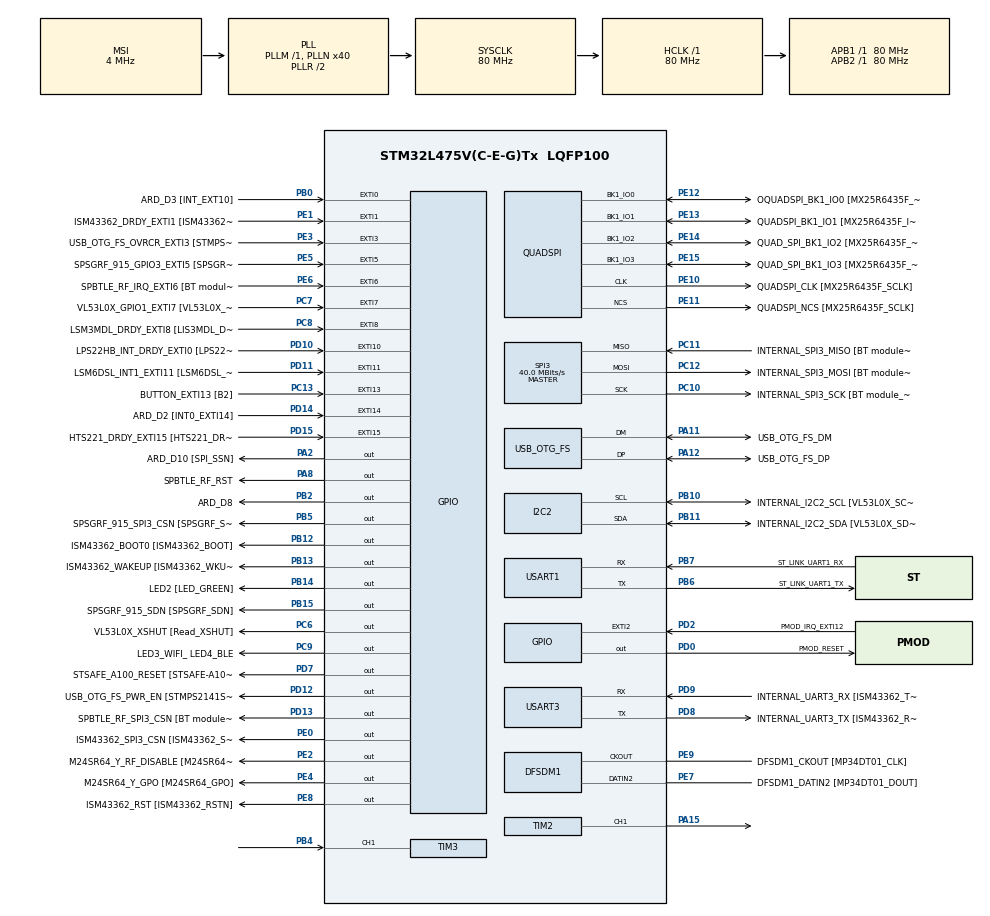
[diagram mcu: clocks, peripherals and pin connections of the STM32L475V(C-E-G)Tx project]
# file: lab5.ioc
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I2C2.Timing=0x10D19CE4
Mcu.Family=STM32L4
Mcu.Name=STM32L475V(C-E-G)Tx
Mcu.Package=LQFP100
NVIC.EXTI15_10_IRQn=true\:0\:0\:false\:false\:true\:true\:true\:true
NVIC.EXTI9_5_IRQn=true\:0\:0\:false\:false\:true\:true\:true\:true
NVIC.PriorityGroup=NVIC_PRIORITYGROUP_4
NVIC.TIM3_IRQn=true\:0\:0\:false\:false\:true\:true\:true\:true
PA0.GPIO_Label=ARD_D1 [UART4_TX]
PA0.Signal=UART4_TX
PA1.GPIO_Label=ARD_D0 [UART4_RX]
PA1.Signal=UART4_RX
PA10.GPIO_Label=USB_OTG_FS_ID
PA10.Signal=USB_OTG_FS_ID
PA11.GPIO_Label=USB_OTG_FS_DM
PA11.Mode=Device_Only
PA11.Signal=USB_OTG_FS_DM
PA12.GPIO_Label=USB_OTG_FS_DP
PA12.Mode=Device_Only
PA12.Signal=USB_OTG_FS_DP
PA13\ (JTMS-SWDIO).GPIO_Label=SYS_JTMS_SWDIO
PA13\ (JTMS-SWDIO).Mode=Serial_Wire
PA13\ (JTMS-SWDIO).Signal=SYS_JTMS-SWDIO
PA14\ (JTCK-SWCLK).GPIO_Label=SYS_JTCK_SWCLK
PA14\ (JTCK-SWCLK).Mode=Serial_Wire
PA14\ (JTCK-SWCLK).Signal=SYS_JTCK-SWCLK
PA15\ (JTDI).Signal=S_TIM2_CH1
PA2.GPIO_Label=ARD_D10 [SPI_SSN]
PA2.Signal=GPIO_Output
PA3.GPIO_Label=ARD_D4
PA3.Signal=S_TIM2_CH4
PA4.GPIO_Label=ARD_D7
PA4.Signal=ADCx_IN9
PA5.GPIO_Label=ARD_D13 [SPI1_SCK]
PA5.Signal=SPI1_SCK
PA6.GPIO_Label=ARD_D12 [SPI1_MISO]
PA6.Signal=SPI1_MISO
PA7.GPIO_Label=ARD_D11 [SPI1_MOSI]
PA7.Signal=SPI1_MOSI
PA8.GPIO_Label=SPBTLE_RF_RST
PA8.Signal=GPIO_Output
PA9.GPIO_Label=USB_OTG_FS_VBUS [STMPS2141STR_OUT]
PA9.Signal=USB_OTG_FS_VBUS
PB0.GPIO_Label=ARD_D3 [INT_EXT10]
PB0.Signal=GPXTI0
PB1.GPIO_Label=ARD_D6 [ADC1_IN6]
PB1.Signal=ADCx_IN16
PB10.GPIO_Label=INTERNAL_I2C2_SCL [VL53L0X_SCL]
PB10.GPIO_Pu=GPIO_PULLUP
PB10.Mode=I2C
PB10.Signal=I2C2_SCL
PB11.GPIO_Label=INTERNAL_I2C2_SDA [VL53L0X_SDA]
PB11.GPIO_Pu=GPIO_PULLUP
PB11.Mode=I2C
PB11.Signal=I2C2_SDA
PB12.GPIO_Label=ISM43362_BOOT0 [ISM43362_BOOT]
PB12.Signal=GPIO_Output
PB13.GPIO_Label=ISM43362_WAKEUP [ISM43362_WKUP]
PB13.Signal=GPIO_Output
PB14.GPIO_Label=LED2 [LED_GREEN]
PB14.Signal=GPIO_Output
PB15.GPIO_Label=SPSGRF_915_SDN [SPSGRF_SDN]
PB15.Signal=GPIO_Output
PB2.GPIO_Label=ARD_D8
PB2.Signal=GPIO_Output
PB3\ (JTDO-TRACESWO).GPIO_Label=SYS_JTD0_SWO
PB3\ (JTDO-TRACESWO).Signal=SYS_JTDO-SWO
PB4\ (NJTRST).Signal=S_TIM3_CH1
PB5.GPIO_Label=SPSGRF_915_SPI3_CSN [SPSGRF_SPI_CS]
PB5.PinState=GPIO_PIN_SET
PB5.Signal=GPIO_Output
PB6.GPIO_Label=ST_LINK_UART1_TX
PB6.Mode=Asynchronous
PB6.Signal=USART1_TX
PB7.GPIO_Label=ST_LINK_UART1_RX
PB7.Mode=Asynchronous
PB7.Signal=USART1_RX
PB8.GPIO_Label=ARD_D15 [I2C1_SCL]
PB8.Signal=I2C1_SCL
PB9.GPIO_Label=ARD_D14 [I2C1_SDA]
PB9.Signal=I2C1_SDA
PC0.GPIO_Label=ARD_A5 [ADC]
PC0.Signal=ADCx_IN1
PC1.GPIO_Label=ARD_A4 [ADC]
PC1.Signal=ADCx_IN2
PC10.GPIO_Label=INTERNAL_SPI3_SCK [BT module_SPI_SCLK] [ISM43362_SCK]
PC10.Mode=Full_Duplex_Master
PC10.Signal=SPI3_SCK
PC11.GPIO_Label=INTERNAL_SPI3_MISO [BT module_SPI_MISO] [ISM43362_MISO]
PC11.Mode=Full_Duplex_Master
PC11.Signal=SPI3_MISO
PC12.GPIO_Label=INTERNAL_SPI3_MOSI [BT module_SPI_MOSI] [ISM43362_MOSI]
PC12.Mode=Full_Duplex_Master
PC12.Signal=SPI3_MOSI
PC13.GPIO_Label=BUTTON_EXTI13 [B2]
PC13.GPIO_ModeDefaultEXTI=GPIO_MODE_IT_FALLING
PC13.Signal=GPXTI13
PC14-OSC32_IN\ (PC14).Mode=LSE-External-Oscillator
PC14-OSC32_IN\ (PC14).Signal=RCC_OSC32_IN
PC15-OSC32_OUT\ (PC15).Mode=LSE-External-Oscillator
PC15-OSC32_OUT\ (PC15).Signal=RCC_OSC32_OUT
PC2.GPIO_Label=ARD_A3 [ADC]
PC2.Signal=ADCx_IN3
PC3.GPIO_Label=ARD_A2 [ADC]
PC3.Signal=ADCx_IN4
PC4.GPIO_Label=ARD_A1 [ADC]
PC4.Signal=ADCx_IN13
PC5.GPIO_Label=ARD_A0 [ADC]
PC5.Signal=ADCx_IN14
PC6.GPIO_Label=VL53L0X_XSHUT [Read_XSHUT]
PC6.Signal=GPIO_Output
PC7.GPIO_Label=VL53L0X_GPIO1_EXTI7 [VL53L0X_GPIO1]
PC7.Signal=GPXTI7
PC8.GPIO_Label=LSM3MDL_DRDY_EXTI8 [LIS3MDL_DRDY]
PC8.Signal=GPXTI8
PC9.GPIO_Label=LED3_WIFI_ LED4_BLE
PC9.Signal=GPIO_Output
PD0.GPIO_Label=PMOD_RESET
PD0.Signal=GPIO_Output
PD1.GPIO_Label=PMOD_SPI2_SCK
PD1.Signal=SPI2_SCK
PD10.GPIO_Label=LPS22HB_INT_DRDY_EXTI0 [LPS22HB_INT_DRDY] 
PD10.Signal=GPXTI10
PD11.GPIO_Label=LSM6DSL_INT1_EXTI11 [LSM6DSL_INT1]
PD11.Signal=GPXTI11
PD12.GPIO_Label=USB_OTG_FS_PWR_EN [STMPS2141STR_EN]
PD12.Signal=GPIO_Output
PD13.GPIO_Label=SPBTLE_RF_SPI3_CSN [BT module_SPI_CS]
PD13.PinState=GPIO_PIN_SET
PD13.Signal=GPIO_Output
PD14.GPIO_Label=ARD_D2 [INT0_EXTI14]
PD14.Signal=GPXTI14
PD15.GPIO_Label=HTS221_DRDY_EXTI15 [HTS221_DRDY]
PD15.Signal=GPXTI15
PD2.GPIO_Label=PMOD_IRQ_EXTI12
PD2.Signal=GPXTI2
PD3.GPIO_Label=PMOD_UART2_CTS
PD3.Signal=USART2_CTS
PD4.GPIO_Label=PMOD_UART2_RTS
PD4.Signal=USART2_RTS
PD5.GPIO_Label=PMOD_UART2_TX
PD5.Signal=USART2_TX
PD6.GPIO_Label=PMOD_UART2_RX
PD6.Signal=USART2_RX
PD7.GPIO_Label=STSAFE_A100_RESET [STSAFE-A100_RESET]
PD7.Signal=GPIO_Output
PD8.GPIO_Label=INTERNAL_UART3_TX [ISM43362_RX]
PD8.Mode=Asynchronous
PD8.Signal=USART3_TX
PD9.GPIO_Label=INTERNAL_UART3_RX [ISM43362_TX]
PD9.Mode=Asynchronous
PD9.Signal=USART3_RX
PE0.GPIO_Label=ISM43362_SPI3_CSN [ISM43362_SSN]
PE0.PinState=GPIO_PIN_SET
PE0.Signal=GPIO_Output
PE1.GPIO_Label=ISM43362_DRDY_EXTI1 [ISM43362_DATARDY]
PE1.Signal=GPXTI1
PE10.GPIO_Label=QUADSPI_CLK [MX25R6435F_SCLK]
PE10.Mode=Single Bank
PE10.Signal=QUADSPI_CLK
PE11.GPIO_Label=QUADSPI_NCS [MX25R6435F_SCLK]
PE11.Mode=Single Bank
PE11.Signal=QUADSPI_NCS
PE12.GPIO_Label=OQUADSPI_BK1_IO0 [MX25R6435F_IO0]
PE12.Mode=Single Bank
PE12.Signal=QUADSPI_BK1_IO0
PE13.GPIO_Label=QUADSPI_BK1_IO1 [MX25R6435F_IO1]
PE13.Mode=Single Bank
PE13.Signal=QUADSPI_BK1_IO1
PE14.GPIO_Label=QUAD_SPI_BK1_IO2 [MX25R6435F_IO2]
PE14.Mode=Single Bank
PE14.Signal=QUADSPI_BK1_IO2
PE15.GPIO_Label=QUAD_SPI_BK1_IO3 [MX25R6435F_IO3]
PE15.Mode=Single Bank
PE15.Signal=QUADSPI_BK1_IO3
PE2.GPIO_Label=M24SR64_Y_RF_DISABLE [M24SR64_RFDIS]
PE2.Signal=GPIO_Output
PE3.GPIO_Label=USB_OTG_FS_OVRCR_EXTI3 [STMPS2141STR_FAULT]
PE3.Signal=GPXTI3
PE4.GPIO_Label=M24SR64_Y_GPO [M24SR64_GPO]
PE4.Signal=GPIO_Output
PE5.GPIO_Label=SPSGRF_915_GPIO3_EXTI5 [SPSGRF_GPIO_3]
PE5.Signal=GPXTI5
PE6.GPIO_Label=SPBTLE_RF_IRQ_EXTI6 [BT module_SPI_IRQ]
PE6.Signal=GPXTI6
PE7.GPIO_Label=DFSDM1_DATIN2 [MP34DT01_DOUT]
PE7.Signal=S_DATAIN2DFSDM1
PE8.GPIO_Label=ISM43362_RST [ISM43362_RSTN]
PE8.Signal=GPIO_Output
PE9.GPIO_Label=DFSDM1_CKOUT [MP34DT01_CLK]
PE9.Signal=S_CKOUTDFSDM1
ProjectManager.HeapSize=0x200
ProjectManager.StackSize=0x400
ProjectManager.TargetToolchain=CMake
QUADSPI.ClockPrescaler=2
QUADSPI.FifoThreshold=4
QUADSPI.FlashSize=23
QUADSPI.SampleShifting=QSPI_SAMPLE_SHIFTING_HALFCYCLE
RCC.ADCFreq_Value=48000000
RCC.AHBFreq_Value=80000000
RCC.APB1Freq_Value=80000000
RCC.APB1TimFreq_Value=80000000
RCC.APB2Freq_Value=80000000
RCC.APB2TimFreq_Value=80000000
RCC.CortexFreq_Value=80000000
RCC.HCLKFreq_Value=80000000
RCC.HSE_VALUE=8000000
RCC.HSI_VALUE=16000000
RCC.MSI_VALUE=4000000
RCC.PLLN=40
RCC.PLLSAI1N=24
RCC.SYSCLKFreq_VALUE=80000000
RCC.SYSCLKSource=RCC_SYSCLKSOURCE_PLLCLK
RCC.USBFreq_Value=48000000
RCC.VCOOutputFreq_Value=160000000
SH.ADCx_IN1.0=ADC1_IN1
SH.ADCx_IN13.0=ADC1_IN13
SH.ADCx_IN14.0=ADC1_IN14
SH.ADCx_IN16.0=ADC1_IN16
SH.ADCx_IN2.0=ADC1_IN2
SH.ADCx_IN3.0=ADC1_IN3
SH.ADCx_IN4.0=ADC1_IN4
SH.ADCx_IN9.0=ADC1_IN9
SH.S_CKOUTDFSDM1.0=DFSDM1_CKOUT,CKOUT
SH.S_CKOUTDFSDM1.1=DFSDM1_CKOUT,PDM_SPI_Input_from_ch12_and_Internal_Clock
SH.S_DATAIN2DFSDM1.0=DFSDM1_DATIN2,PDM_SPI_Input_from_ch12_and_Internal_Clock
SH.S_TIM2_CH1.0=TIM2_CH1,PWM Generation1 CH1
SH.S_TIM2_CH4.0=TIM2_CH4
SH.S_TIM3_CH1.0=TIM3_CH1,TriggerSource_TI1FP1
SH.S_TIM3_CH1.1=TIM3_CH1,Input_Capture1_from_TI1
SPI3.CalculateBaudRate=40.0 MBits/s
SPI3.Direction=SPI_DIRECTION_2LINES
SPI3.Mode=SPI_MODE_MASTER
SPI3.VirtualType=VM_MASTER
TIM2.Channel-PWM\ Generation1\ CH1=TIM_CHANNEL_1
TIM2.Period=19999
TIM2.Prescaler=79
TIM2.Pulse-PWM\ Generation1\ CH1=1500
TIM3.Channel-Input_Capture1_from_TI1=TIM_CHANNEL_1
TIM3.Channel-Input_Capture2_from_TI1_63=TIM_CHANNEL_2
TIM3.ICPolarity_CH2=TIM_INPUTCHANNELPOLARITY_FALLING
TIM3.Prescaler=79
USART1.VirtualMode-Asynchronous=VM_ASYNC
USART3.VirtualMode-Asynchronous=VM_ASYNC
USB_OTG_FS.VirtualMode=Device_Only
VP_TIM2_VS_ClockSourceINT.Mode=Internal
VP_TIM3_VS_ClockSourceINT.Mode=Internal
VP_TIM3_VS_ControllerModeReset.Mode=Reset Mode
VP_TIM3_VS_indirect_ch1.Mode=Input_Capture2_from_TI1_63
board=B-L475E-IOT01A1

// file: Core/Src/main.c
/* USER CODE BEGIN Header */
/**
  ******************************************************************************
  * @file           : main.c
  * @brief          : Main program body
  ******************************************************************************
  * @attention
  *
  * Copyright (c) 2026 STMicroelectronics.
  * All rights reserved.
  *
  * This software is licensed under terms that can be found in the LICENSE file
  * in the root directory of this software component.
  * If no LICENSE file comes with this software, it is provided AS-IS.
  *
  ******************************************************************************
  */
/* USER CODE END Header */
#include "main.h"

/* USER CODE BEGIN Includes */
#include <stdio.h> // Include stdio.h for printf function
#include <string.h> // Include string.h for strlen function
/* USER CODE END Includes */

DFSDM_Channel_HandleTypeDef hdfsdm1_channel1;

I2C_HandleTypeDef hi2c2;

QSPI_HandleTypeDef hqspi;

SPI_HandleTypeDef hspi3;

TIM_HandleTypeDef htim2;
TIM_HandleTypeDef htim3;

UART_HandleTypeDef huart1;
UART_HandleTypeDef huart3;

PCD_HandleTypeDef hpcd_USB_OTG_FS;

/* USER CODE BEGIN PV */
volatile uint16_t period = 0; // Variable to store the measured period
volatile uint16_t pulse_width = 0; // Variable to store the measured pulse width
/* USER CODE END PV */

void SystemClock_Config(void);
static void MX_GPIO_Init(void);
static void MX_DFSDM1_Init(void);
static void MX_I2C2_Init(void);
static void MX_QUADSPI_Init(void);
static void MX_SPI3_Init(void);
static void MX_TIM2_Init(void);
static void MX_USART1_UART_Init(void);
static void MX_USART3_UART_Init(void);
static void MX_USB_OTG_FS_PCD_Init(void);
static void MX_TIM3_Init(void);

/* USER CODE BEGIN 0 */

static void print_measurement(uint16_t period, uint16_t pulse_width) {
    char buffer[80];
    snprintf(buffer, sizeof(buffer), "period = %u us, width = %u us, angle = %d deg\r\n", period, pulse_width, (int)((pulse_width - 1000) * 180 / 1000));
    HAL_UART_Transmit(&huart1, (uint8_t*)buffer, strlen(buffer), HAL_MAX_DELAY);
}

/* USER CODE END 0 */

int main(void)
{

  /* MCU Configuration--------------------------------------------------------*/

  /* Reset of all peripherals, Initializes the Flash interface and the Systick. */
  HAL_Init();

  /* Configure the system clock */
  SystemClock_Config();

  /* Initialize all configured peripherals */
  MX_GPIO_Init();
  MX_DFSDM1_Init();
  MX_I2C2_Init();
  MX_QUADSPI_Init();
  MX_SPI3_Init();
  MX_TIM2_Init();
  MX_USART1_UART_Init();
  MX_USART3_UART_Init();
  MX_USB_OTG_FS_PCD_Init();
  MX_TIM3_Init();
  /* USER CODE BEGIN 2 */
  HAL_TIM_PWM_Start(&htim2, TIM_CHANNEL_1);
  HAL_TIM_IC_Start(&htim3, TIM_CHANNEL_2);
  HAL_TIM_IC_Start_IT(&htim3, TIM_CHANNEL_1);
  /* USER CODE END 2 */

  /* Infinite loop */
  while (1)
  {

    /* USER CODE BEGIN 3 */
    __HAL_TIM_SET_COMPARE(&htim2, TIM_CHANNEL_1, 1000);
    HAL_Delay(1000);
    print_measurement(period, pulse_width);
    __HAL_TIM_SET_COMPARE(&htim2, TIM_CHANNEL_1, 1500);
    HAL_Delay(1000);
    print_measurement(period, pulse_width);
    __HAL_TIM_SET_COMPARE(&htim2, TIM_CHANNEL_1, 2000);
    HAL_Delay(1000);
    print_measurement(period, pulse_width);

  }
  /* USER CODE END 3 */
}

void SystemClock_Config(void)
{
  RCC_OscInitTypeDef RCC_OscInitStruct = {0};
  RCC_ClkInitTypeDef RCC_ClkInitStruct = {0};

  /** Configure the main internal regulator output voltage
  */
  if (HAL_PWREx_ControlVoltageScaling(PWR_REGULATOR_VOLTAGE_SCALE1) != HAL_OK)
  {
    Error_Handler();
  }

  /** Configure LSE Drive Capability
  */
  HAL_PWR_EnableBkUpAccess();
  __HAL_RCC_LSEDRIVE_CONFIG(RCC_LSEDRIVE_LOW);

  /** Initializes the RCC Oscillators according to the specified parameters
  * in the RCC_OscInitTypeDef structure.
  */
  RCC_OscInitStruct.OscillatorType = RCC_OSCILLATORTYPE_LSE|RCC_OSCILLATORTYPE_MSI;
  RCC_OscInitStruct.LSEState = RCC_LSE_ON;
  RCC_OscInitStruct.MSIState = RCC_MSI_ON;
  RCC_OscInitStruct.MSICalibrationValue = 0;
  RCC_OscInitStruct.MSIClockRange = RCC_MSIRANGE_6;
  RCC_OscInitStruct.PLL.PLLState = RCC_PLL_ON;
  RCC_OscInitStruct.PLL.PLLSource = RCC_PLLSOURCE_MSI;
  RCC_OscInitStruct.PLL.PLLM = 1;
  RCC_OscInitStruct.PLL.PLLN = 40;
  RCC_OscInitStruct.PLL.PLLP = RCC_PLLP_DIV7;
  RCC_OscInitStruct.PLL.PLLQ = RCC_PLLQ_DIV2;
  RCC_OscInitStruct.PLL.PLLR = RCC_PLLR_DIV2;
  if (HAL_RCC_OscConfig(&RCC_OscInitStruct) != HAL_OK)
  {
    Error_Handler();
  }

  /** Initializes the CPU, AHB and APB buses clocks
  */
  RCC_ClkInitStruct.ClockType = RCC_CLOCKTYPE_HCLK|RCC_CLOCKTYPE_SYSCLK
                              |RCC_CLOCKTYPE_PCLK1|RCC_CLOCKTYPE_PCLK2;
  RCC_ClkInitStruct.SYSCLKSource = RCC_SYSCLKSOURCE_PLLCLK;
  RCC_ClkInitStruct.AHBCLKDivider = RCC_SYSCLK_DIV1;
  RCC_ClkInitStruct.APB1CLKDivider = RCC_HCLK_DIV1;
  RCC_ClkInitStruct.APB2CLKDivider = RCC_HCLK_DIV1;

  if (HAL_RCC_ClockConfig(&RCC_ClkInitStruct, FLASH_LATENCY_4) != HAL_OK)
  {
    Error_Handler();
  }

  /** Enable MSI Auto calibration
  */
  HAL_RCCEx_EnableMSIPLLMode();
}

static void MX_DFSDM1_Init(void)
{

  hdfsdm1_channel1.Instance = DFSDM1_Channel1;
  hdfsdm1_channel1.Init.OutputClock.Activation = ENABLE;
  hdfsdm1_channel1.Init.OutputClock.Selection = DFSDM_CHANNEL_OUTPUT_CLOCK_SYSTEM;
  hdfsdm1_channel1.Init.OutputClock.Divider = 2;
  hdfsdm1_channel1.Init.Input.Multiplexer = DFSDM_CHANNEL_EXTERNAL_INPUTS;
  hdfsdm1_channel1.Init.Input.DataPacking = DFSDM_CHANNEL_STANDARD_MODE;
  hdfsdm1_channel1.Init.Input.Pins = DFSDM_CHANNEL_FOLLOWING_CHANNEL_PINS;
  hdfsdm1_channel1.Init.SerialInterface.Type = DFSDM_CHANNEL_SPI_RISING;
  hdfsdm1_channel1.Init.SerialInterface.SpiClock = DFSDM_CHANNEL_SPI_CLOCK_INTERNAL;
  hdfsdm1_channel1.Init.Awd.FilterOrder = DFSDM_CHANNEL_FASTSINC_ORDER;
  hdfsdm1_channel1.Init.Awd.Oversampling = 1;
  hdfsdm1_channel1.Init.Offset = 0;
  hdfsdm1_channel1.Init.RightBitShift = 0x00;
  if (HAL_DFSDM_ChannelInit(&hdfsdm1_channel1) != HAL_OK)
  {
    Error_Handler();
  }

}

static void MX_I2C2_Init(void)
{

  hi2c2.Instance = I2C2;
  hi2c2.Init.Timing = 0x10D19CE4;
  hi2c2.Init.OwnAddress1 = 0;
  hi2c2.Init.AddressingMode = I2C_ADDRESSINGMODE_7BIT;
  hi2c2.Init.DualAddressMode = I2C_DUALADDRESS_DISABLE;
  hi2c2.Init.OwnAddress2 = 0;
  hi2c2.Init.OwnAddress2Masks = I2C_OA2_NOMASK;
  hi2c2.Init.GeneralCallMode = I2C_GENERALCALL_DISABLE;
  hi2c2.Init.NoStretchMode = I2C_NOSTRETCH_DISABLE;
  if (HAL_I2C_Init(&hi2c2) != HAL_OK)
  {
    Error_Handler();
  }

  /** Configure Analogue filter
  */
  if (HAL_I2CEx_ConfigAnalogFilter(&hi2c2, I2C_ANALOGFILTER_ENABLE) != HAL_OK)
  {
    Error_Handler();
  }

  /** Configure Digital filter
  */
  if (HAL_I2CEx_ConfigDigitalFilter(&hi2c2, 0) != HAL_OK)
  {
    Error_Handler();
  }

}

static void MX_QUADSPI_Init(void)
{

  /* QUADSPI parameter configuration*/
  hqspi.Instance = QUADSPI;
  hqspi.Init.ClockPrescaler = 2;
  hqspi.Init.FifoThreshold = 4;
  hqspi.Init.SampleShifting = QSPI_SAMPLE_SHIFTING_HALFCYCLE;
  hqspi.Init.FlashSize = 23;
  hqspi.Init.ChipSelectHighTime = QSPI_CS_HIGH_TIME_1_CYCLE;
  hqspi.Init.ClockMode = QSPI_CLOCK_MODE_0;
  if (HAL_QSPI_Init(&hqspi) != HAL_OK)
  {
    Error_Handler();
  }

}

static void MX_SPI3_Init(void)
{

  /* SPI3 parameter configuration*/
  hspi3.Instance = SPI3;
  hspi3.Init.Mode = SPI_MODE_MASTER;
  hspi3.Init.Direction = SPI_DIRECTION_2LINES;
  hspi3.Init.DataSize = SPI_DATASIZE_4BIT;
  hspi3.Init.CLKPolarity = SPI_POLARITY_LOW;
  hspi3.Init.CLKPhase = SPI_PHASE_1EDGE;
  hspi3.Init.NSS = SPI_NSS_SOFT;
  hspi3.Init.BaudRatePrescaler = SPI_BAUDRATEPRESCALER_2;
  hspi3.Init.FirstBit = SPI_FIRSTBIT_MSB;
  hspi3.Init.TIMode = SPI_TIMODE_DISABLE;
  hspi3.Init.CRCCalculation = SPI_CRCCALCULATION_DISABLE;
  hspi3.Init.CRCPolynomial = 7;
  hspi3.Init.CRCLength = SPI_CRC_LENGTH_DATASIZE;
  hspi3.Init.NSSPMode = SPI_NSS_PULSE_ENABLE;
  if (HAL_SPI_Init(&hspi3) != HAL_OK)
  {
    Error_Handler();
  }

}

static void MX_TIM2_Init(void)
{

  TIM_ClockConfigTypeDef sClockSourceConfig = {0};
  TIM_MasterConfigTypeDef sMasterConfig = {0};
  TIM_OC_InitTypeDef sConfigOC = {0};

  htim2.Instance = TIM2;
  htim2.Init.Prescaler = 79;
  htim2.Init.CounterMode = TIM_COUNTERMODE_UP;
  htim2.Init.Period = 19999;
  htim2.Init.ClockDivision = TIM_CLOCKDIVISION_DIV1;
  htim2.Init.AutoReloadPreload = TIM_AUTORELOAD_PRELOAD_DISABLE;
  if (HAL_TIM_Base_Init(&htim2) != HAL_OK)
  {
    Error_Handler();
  }
  sClockSourceConfig.ClockSource = TIM_CLOCKSOURCE_INTERNAL;
  if (HAL_TIM_ConfigClockSource(&htim2, &sClockSourceConfig) != HAL_OK)
  {
    Error_Handler();
  }
  if (HAL_TIM_PWM_Init(&htim2) != HAL_OK)
  {
    Error_Handler();
  }
  sMasterConfig.MasterOutputTrigger = TIM_TRGO_RESET;
  sMasterConfig.MasterSlaveMode = TIM_MASTERSLAVEMODE_DISABLE;
  if (HAL_TIMEx_MasterConfigSynchronization(&htim2, &sMasterConfig) != HAL_OK)
  {
    Error_Handler();
  }
  sConfigOC.OCMode = TIM_OCMODE_PWM1;
  sConfigOC.Pulse = 1500;
  sConfigOC.OCPolarity = TIM_OCPOLARITY_HIGH;
  sConfigOC.OCFastMode = TIM_OCFAST_DISABLE;
  if (HAL_TIM_PWM_ConfigChannel(&htim2, &sConfigOC, TIM_CHANNEL_1) != HAL_OK)
  {
    Error_Handler();
  }
  HAL_TIM_MspPostInit(&htim2);

}

static void MX_TIM3_Init(void)
{

  TIM_ClockConfigTypeDef sClockSourceConfig = {0};
  TIM_SlaveConfigTypeDef sSlaveConfig = {0};
  TIM_MasterConfigTypeDef sMasterConfig = {0};
  TIM_IC_InitTypeDef sConfigIC = {0};

  htim3.Instance = TIM3;
  htim3.Init.Prescaler = 79;
  htim3.Init.CounterMode = TIM_COUNTERMODE_UP;
  htim3.Init.Period = 65535;
  htim3.Init.ClockDivision = TIM_CLOCKDIVISION_DIV1;
  htim3.Init.AutoReloadPreload = TIM_AUTORELOAD_PRELOAD_DISABLE;
  if (HAL_TIM_Base_Init(&htim3) != HAL_OK)
  {
    Error_Handler();
  }
  sClockSourceConfig.ClockSource = TIM_CLOCKSOURCE_INTERNAL;
  if (HAL_TIM_ConfigClockSource(&htim3, &sClockSourceConfig) != HAL_OK)
  {
    Error_Handler();
  }
  if (HAL_TIM_IC_Init(&htim3) != HAL_OK)
  {
    Error_Handler();
  }
  sSlaveConfig.SlaveMode = TIM_SLAVEMODE_RESET;
  sSlaveConfig.InputTrigger = TIM_TS_TI1FP1;
  sSlaveConfig.TriggerPolarity = TIM_INPUTCHANNELPOLARITY_RISING;
  sSlaveConfig.TriggerFilter = 0;
  if (HAL_TIM_SlaveConfigSynchro(&htim3, &sSlaveConfig) != HAL_OK)
  {
    Error_Handler();
  }
  sMasterConfig.MasterOutputTrigger = TIM_TRGO_RESET;
  sMasterConfig.MasterSlaveMode = TIM_MASTERSLAVEMODE_DISABLE;
  if (HAL_TIMEx_MasterConfigSynchronization(&htim3, &sMasterConfig) != HAL_OK)
  {
    Error_Handler();
  }
  sConfigIC.ICPolarity = TIM_INPUTCHANNELPOLARITY_RISING;
  sConfigIC.ICSelection = TIM_ICSELECTION_DIRECTTI;
  sConfigIC.ICPrescaler = TIM_ICPSC_DIV1;
  sConfigIC.ICFilter = 0;
  if (HAL_TIM_IC_ConfigChannel(&htim3, &sConfigIC, TIM_CHANNEL_1) != HAL_OK)
  {
    Error_Handler();
  }
  sConfigIC.ICPolarity = TIM_INPUTCHANNELPOLARITY_FALLING;
  sConfigIC.ICSelection = TIM_ICSELECTION_INDIRECTTI;
  if (HAL_TIM_IC_ConfigChannel(&htim3, &sConfigIC, TIM_CHANNEL_2) != HAL_OK)
  {
    Error_Handler();
  }

}

static void MX_USART1_UART_Init(void)
{

  huart1.Instance = USART1;
  huart1.Init.BaudRate = 115200;
  huart1.Init.WordLength = UART_WORDLENGTH_8B;
  huart1.Init.StopBits = UART_STOPBITS_1;
  huart1.Init.Parity = UART_PARITY_NONE;
  huart1.Init.Mode = UART_MODE_TX_RX;
  huart1.Init.HwFlowCtl = UART_HWCONTROL_NONE;
  huart1.Init.OverSampling = UART_OVERSAMPLING_16;
  huart1.Init.OneBitSampling = UART_ONE_BIT_SAMPLE_DISABLE;
  huart1.AdvancedInit.AdvFeatureInit = UART_ADVFEATURE_NO_INIT;
  if (HAL_UART_Init(&huart1) != HAL_OK)
  {
    Error_Handler();
  }

}

static void MX_USART3_UART_Init(void)
{

  huart3.Instance = USART3;
  huart3.Init.BaudRate = 115200;
  huart3.Init.WordLength = UART_WORDLENGTH_8B;
  huart3.Init.StopBits = UART_STOPBITS_1;
  huart3.Init.Parity = UART_PARITY_NONE;
  huart3.Init.Mode = UART_MODE_TX_RX;
  huart3.Init.HwFlowCtl = UART_HWCONTROL_NONE;
  huart3.Init.OverSampling = UART_OVERSAMPLING_16;
  huart3.Init.OneBitSampling = UART_ONE_BIT_SAMPLE_DISABLE;
  huart3.AdvancedInit.AdvFeatureInit = UART_ADVFEATURE_NO_INIT;
  if (HAL_UART_Init(&huart3) != HAL_OK)
  {
    Error_Handler();
  }

}

static void MX_USB_OTG_FS_PCD_Init(void)
{

  hpcd_USB_OTG_FS.Instance = USB_OTG_FS;
  hpcd_USB_OTG_FS.Init.dev_endpoints = 6;
  hpcd_USB_OTG_FS.Init.speed = PCD_SPEED_FULL;
  hpcd_USB_OTG_FS.Init.phy_itface = PCD_PHY_EMBEDDED;
  hpcd_USB_OTG_FS.Init.Sof_enable = DISABLE;
  hpcd_USB_OTG_FS.Init.low_power_enable = DISABLE;
  hpcd_USB_OTG_FS.Init.lpm_enable = DISABLE;
  hpcd_USB_OTG_FS.Init.battery_charging_enable = DISABLE;
  hpcd_USB_OTG_FS.Init.use_dedicated_ep1 = DISABLE;
  hpcd_USB_OTG_FS.Init.vbus_sensing_enable = DISABLE;
  if (HAL_PCD_Init(&hpcd_USB_OTG_FS) != HAL_OK)
  {
    Error_Handler();
  }

}

static void MX_GPIO_Init(void)
{
  GPIO_InitTypeDef GPIO_InitStruct = {0};

  /* GPIO Ports Clock Enable */
  __HAL_RCC_GPIOE_CLK_ENABLE();
  __HAL_RCC_GPIOC_CLK_ENABLE();
  __HAL_RCC_GPIOA_CLK_ENABLE();
  __HAL_RCC_GPIOB_CLK_ENABLE();
  __HAL_RCC_GPIOD_CLK_ENABLE();

  /*Configure GPIO pin Output Level */
  HAL_GPIO_WritePin(GPIOE, M24SR64_Y_RF_DISABLE_Pin|M24SR64_Y_GPO_Pin|ISM43362_RST_Pin, GPIO_PIN_RESET);

  /*Configure GPIO pin Output Level */
  HAL_GPIO_WritePin(GPIOA, ARD_D10_Pin|SPBTLE_RF_RST_Pin, GPIO_PIN_RESET);

  /*Configure GPIO pin Output Level */
  HAL_GPIO_WritePin(GPIOB, ARD_D8_Pin|ISM43362_BOOT0_Pin|ISM43362_WAKEUP_Pin|LED2_Pin
                          |SPSGRF_915_SDN_Pin, GPIO_PIN_RESET);

  /*Configure GPIO pin Output Level */
  HAL_GPIO_WritePin(GPIOD, USB_OTG_FS_PWR_EN_Pin|PMOD_RESET_Pin|STSAFE_A100_RESET_Pin, GPIO_PIN_RESET);

  /*Configure GPIO pin Output Level */
  HAL_GPIO_WritePin(SPBTLE_RF_SPI3_CSN_GPIO_Port, SPBTLE_RF_SPI3_CSN_Pin, GPIO_PIN_SET);

  /*Configure GPIO pin Output Level */
  HAL_GPIO_WritePin(GPIOC, VL53L0X_XSHUT_Pin|LED3_WIFI__LED4_BLE_Pin, GPIO_PIN_RESET);

  /*Configure GPIO pin Output Level */
  HAL_GPIO_WritePin(SPSGRF_915_SPI3_CSN_GPIO_Port, SPSGRF_915_SPI3_CSN_Pin, GPIO_PIN_SET);

  /*Configure GPIO pin Output Level */
  HAL_GPIO_WritePin(ISM43362_SPI3_CSN_GPIO_Port, ISM43362_SPI3_CSN_Pin, GPIO_PIN_SET);

  /*Configure GPIO pins : M24SR64_Y_RF_DISABLE_Pin M24SR64_Y_GPO_Pin ISM43362_RST_Pin ISM43362_SPI3_CSN_Pin */
  GPIO_InitStruct.Pin = M24SR64_Y_RF_DISABLE_Pin|M24SR64_Y_GPO_Pin|ISM43362_RST_Pin|ISM43362_SPI3_CSN_Pin;
  GPIO_InitStruct.Mode = GPIO_MODE_OUTPUT_PP;
  GPIO_InitStruct.Pull = GPIO_NOPULL;
  GPIO_InitStruct.Speed = GPIO_SPEED_FREQ_LOW;
  HAL_GPIO_Init(GPIOE, &GPIO_InitStruct);

  /*Configure GPIO pins : USB_OTG_FS_OVRCR_EXTI3_Pin SPSGRF_915_GPIO3_EXTI5_Pin SPBTLE_RF_IRQ_EXTI6_Pin ISM43362_DRDY_EXTI1_Pin */
  GPIO_InitStruct.Pin = USB_OTG_FS_OVRCR_EXTI3_Pin|SPSGRF_915_GPIO3_EXTI5_Pin|SPBTLE_RF_IRQ_EXTI6_Pin|ISM43362_DRDY_EXTI1_Pin;
  GPIO_InitStruct.Mode = GPIO_MODE_IT_RISING;
  GPIO_InitStruct.Pull = GPIO_NOPULL;
  HAL_GPIO_Init(GPIOE, &GPIO_InitStruct);

  /*Configure GPIO pin : BUTTON_EXTI13_Pin */
  GPIO_InitStruct.Pin = BUTTON_EXTI13_Pin;
  GPIO_InitStruct.Mode = GPIO_MODE_IT_FALLING;
  GPIO_InitStruct.Pull = GPIO_NOPULL;
  HAL_GPIO_Init(BUTTON_EXTI13_GPIO_Port, &GPIO_InitStruct);

  /*Configure GPIO pins : ARD_A5_Pin ARD_A4_Pin ARD_A3_Pin ARD_A2_Pin
                           ARD_A1_Pin ARD_A0_Pin */
  GPIO_InitStruct.Pin = ARD_A5_Pin|ARD_A4_Pin|ARD_A3_Pin|ARD_A2_Pin
                          |ARD_A1_Pin|ARD_A0_Pin;
  GPIO_InitStruct.Mode = GPIO_MODE_ANALOG_ADC_CONTROL;
  GPIO_InitStruct.Pull = GPIO_NOPULL;
  HAL_GPIO_Init(GPIOC, &GPIO_InitStruct);

  /*Configure GPIO pins : ARD_D1_Pin ARD_D0_Pin */
  GPIO_InitStruct.Pin = ARD_D1_Pin|ARD_D0_Pin;
  GPIO_InitStruct.Mode = GPIO_MODE_AF_PP;
  GPIO_InitStruct.Pull = GPIO_NOPULL;
  GPIO_InitStruct.Speed = GPIO_SPEED_FREQ_VERY_HIGH;
  GPIO_InitStruct.Alternate = GPIO_AF8_UART4;
  HAL_GPIO_Init(GPIOA, &GPIO_InitStruct);

  /*Configure GPIO pins : ARD_D10_Pin SPBTLE_RF_RST_Pin */
  GPIO_InitStruct.Pin = ARD_D10_Pin|SPBTLE_RF_RST_Pin;
  GPIO_InitStruct.Mode = GPIO_MODE_OUTPUT_PP;
  GPIO_InitStruct.Pull = GPIO_NOPULL;
  GPIO_InitStruct.Speed = GPIO_SPEED_FREQ_LOW;
  HAL_GPIO_Init(GPIOA, &GPIO_InitStruct);

  /*Configure GPIO pin : ARD_D7_Pin */
  GPIO_InitStruct.Pin = ARD_D7_Pin;
  GPIO_InitStruct.Mode = GPIO_MODE_ANALOG_ADC_CONTROL;
  GPIO_InitStruct.Pull = GPIO_NOPULL;
  HAL_GPIO_Init(ARD_D7_GPIO_Port, &GPIO_InitStruct);

  /*Configure GPIO pins : ARD_D13_Pin ARD_D12_Pin ARD_D11_Pin */
  GPIO_InitStruct.Pin = ARD_D13_Pin|ARD_D12_Pin|ARD_D11_Pin;
  GPIO_InitStruct.Mode = GPIO_MODE_AF_PP;
  GPIO_InitStruct.Pull = GPIO_NOPULL;
  GPIO_InitStruct.Speed = GPIO_SPEED_FREQ_VERY_HIGH;
  GPIO_InitStruct.Alternate = GPIO_AF5_SPI1;
  HAL_GPIO_Init(GPIOA, &GPIO_InitStruct);

  /*Configure GPIO pin : ARD_D3_Pin */
  GPIO_InitStruct.Pin = ARD_D3_Pin;
  GPIO_InitStruct.Mode = GPIO_MODE_IT_RISING;
  GPIO_InitStruct.Pull = GPIO_NOPULL;
  HAL_GPIO_Init(ARD_D3_GPIO_Port, &GPIO_InitStruct);

  /*Configure GPIO pin : ARD_D6_Pin */
  GPIO_InitStruct.Pin = ARD_D6_Pin;
  GPIO_InitStruct.Mode = GPIO_MODE_ANALOG_ADC_CONTROL;
  GPIO_InitStruct.Pull = GPIO_NOPULL;
  HAL_GPIO_Init(ARD_D6_GPIO_Port, &GPIO_InitStruct);

  /*Configure GPIO pins : ARD_D8_Pin ISM43362_BOOT0_Pin ISM43362_WAKEUP_Pin LED2_Pin
                           SPSGRF_915_SDN_Pin SPSGRF_915_SPI3_CSN_Pin */
  GPIO_InitStruct.Pin = ARD_D8_Pin|ISM43362_BOOT0_Pin|ISM43362_WAKEUP_Pin|LED2_Pin
                          |SPSGRF_915_SDN_Pin|SPSGRF_915_SPI3_CSN_Pin;
  GPIO_InitStruct.Mode = GPIO_MODE_OUTPUT_PP;
  GPIO_InitStruct.Pull = GPIO_NOPULL;
  GPIO_InitStruct.Speed = GPIO_SPEED_FREQ_LOW;
  HAL_GPIO_Init(GPIOB, &GPIO_InitStruct);

  /*Configure GPIO pins : LPS22HB_INT_DRDY_EXTI0_Pin LSM6DSL_INT1_EXTI11_Pin ARD_D2_Pin HTS221_DRDY_EXTI15_Pin
                           PMOD_IRQ_EXTI12_Pin */
  GPIO_InitStruct.Pin = LPS22HB_INT_DRDY_EXTI0_Pin|LSM6DSL_INT1_EXTI11_Pin|ARD_D2_Pin|HTS221_DRDY_EXTI15_Pin
                          |PMOD_IRQ_EXTI12_Pin;
  GPIO_InitStruct.Mode = GPIO_MODE_IT_RISING;
  GPIO_InitStruct.Pull = GPIO_NOPULL;
  HAL_GPIO_Init(GPIOD, &GPIO_InitStruct);

  /*Configure GPIO pins : USB_OTG_FS_PWR_EN_Pin SPBTLE_RF_SPI3_CSN_Pin PMOD_RESET_Pin STSAFE_A100_RESET_Pin */
  GPIO_InitStruct.Pin = USB_OTG_FS_PWR_EN_Pin|SPBTLE_RF_SPI3_CSN_Pin|PMOD_RESET_Pin|STSAFE_A100_RESET_Pin;
  GPIO_InitStruct.Mode = GPIO_MODE_OUTPUT_PP;
  GPIO_InitStruct.Pull = GPIO_NOPULL;
  GPIO_InitStruct.Speed = GPIO_SPEED_FREQ_LOW;
  HAL_GPIO_Init(GPIOD, &GPIO_InitStruct);

  /*Configure GPIO pins : VL53L0X_XSHUT_Pin LED3_WIFI__LED4_BLE_Pin */
  GPIO_InitStruct.Pin = VL53L0X_XSHUT_Pin|LED3_WIFI__LED4_BLE_Pin;
  GPIO_InitStruct.Mode = GPIO_MODE_OUTPUT_PP;
  GPIO_InitStruct.Pull = GPIO_NOPULL;
  GPIO_InitStruct.Speed = GPIO_SPEED_FREQ_LOW;
  HAL_GPIO_Init(GPIOC, &GPIO_InitStruct);

  /*Configure GPIO pins : VL53L0X_GPIO1_EXTI7_Pin LSM3MDL_DRDY_EXTI8_Pin */
  GPIO_InitStruct.Pin = VL53L0X_GPIO1_EXTI7_Pin|LSM3MDL_DRDY_EXTI8_Pin;
  GPIO_InitStruct.Mode = GPIO_MODE_IT_RISING;
  GPIO_InitStruct.Pull = GPIO_NOPULL;
  HAL_GPIO_Init(GPIOC, &GPIO_InitStruct);

  /*Configure GPIO pin : PMOD_SPI2_SCK_Pin */
  GPIO_InitStruct.Pin = PMOD_SPI2_SCK_Pin;
  GPIO_InitStruct.Mode = GPIO_MODE_AF_PP;
  GPIO_InitStruct.Pull = GPIO_NOPULL;
  GPIO_InitStruct.Speed = GPIO_SPEED_FREQ_VERY_HIGH;
  GPIO_InitStruct.Alternate = GPIO_AF5_SPI2;
  HAL_GPIO_Init(PMOD_SPI2_SCK_GPIO_Port, &GPIO_InitStruct);

  /*Configure GPIO pins : PMOD_UART2_CTS_Pin PMOD_UART2_RTS_Pin PMOD_UART2_TX_Pin PMOD_UART2_RX_Pin */
  GPIO_InitStruct.Pin = PMOD_UART2_CTS_Pin|PMOD_UART2_RTS_Pin|PMOD_UART2_TX_Pin|PMOD_UART2_RX_Pin;
  GPIO_InitStruct.Mode = GPIO_MODE_AF_PP;
  GPIO_InitStruct.Pull = GPIO_NOPULL;
  GPIO_InitStruct.Speed = GPIO_SPEED_FREQ_VERY_HIGH;
  GPIO_InitStruct.Alternate = GPIO_AF7_USART2;
  HAL_GPIO_Init(GPIOD, &GPIO_InitStruct);

  /*Configure GPIO pins : ARD_D15_Pin ARD_D14_Pin */
  GPIO_InitStruct.Pin = ARD_D15_Pin|ARD_D14_Pin;
  GPIO_InitStruct.Mode = GPIO_MODE_AF_OD;
  GPIO_InitStruct.Pull = GPIO_NOPULL;
  GPIO_InitStruct.Speed = GPIO_SPEED_FREQ_VERY_HIGH;
  GPIO_InitStruct.Alternate = GPIO_AF4_I2C1;
  HAL_GPIO_Init(GPIOB, &GPIO_InitStruct);

  /* EXTI interrupt init*/
  HAL_NVIC_SetPriority(EXTI9_5_IRQn, 0, 0);
  HAL_NVIC_EnableIRQ(EXTI9_5_IRQn);

  HAL_NVIC_SetPriority(EXTI15_10_IRQn, 0, 0);
  HAL_NVIC_EnableIRQ(EXTI15_10_IRQn);

}

/* USER CODE BEGIN 4 */
void HAL_TIM_IC_CaptureCallback(TIM_HandleTypeDef *htim)
{
    if (htim->Instance == TIM3 && htim->Channel == HAL_TIM_ACTIVE_CHANNEL_1)
    {

        period = HAL_TIM_ReadCapturedValue(htim, TIM_CHANNEL_1)+1;
        pulse_width = HAL_TIM_ReadCapturedValue(htim, TIM_CHANNEL_2)+1;

    }
}

/* USER CODE END 4 */

void Error_Handler(void)
{
  __disable_irq();
  while (1)
  {
  }
}
